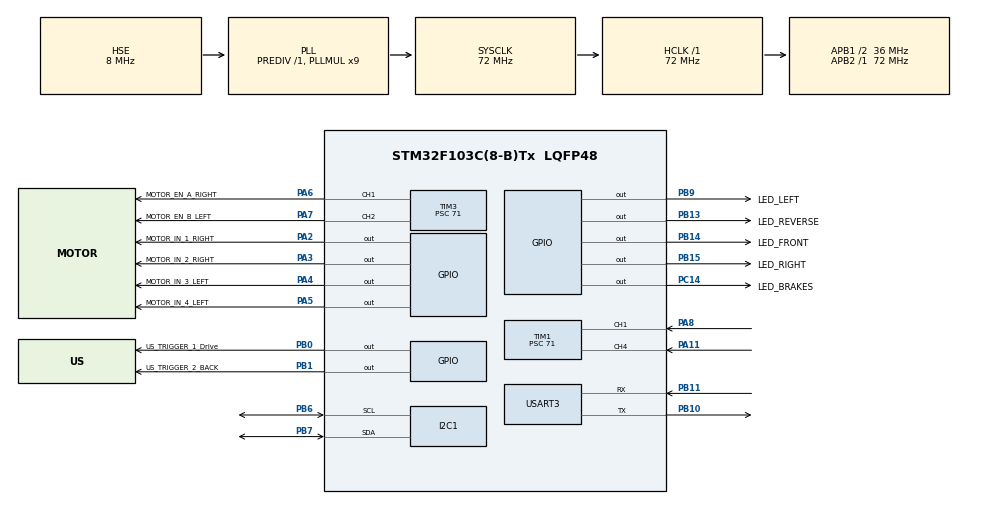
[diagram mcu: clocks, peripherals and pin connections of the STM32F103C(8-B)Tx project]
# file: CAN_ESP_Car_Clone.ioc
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Dma.Request0=USART3_RX
Dma.USART3_RX.0.Direction=DMA_PERIPH_TO_MEMORY
Dma.USART3_RX.0.Instance=DMA1_Channel3
Dma.USART3_RX.0.MemDataAlignment=DMA_MDATAALIGN_BYTE
Dma.USART3_RX.0.MemInc=DMA_MINC_ENABLE
Dma.USART3_RX.0.Mode=DMA_CIRCULAR
Dma.USART3_RX.0.PeriphDataAlignment=DMA_PDATAALIGN_BYTE
Dma.USART3_RX.0.PeriphInc=DMA_PINC_DISABLE
Dma.USART3_RX.0.Priority=DMA_PRIORITY_LOW
FREERTOS.Tasks01=defaultTask,0,250,StartDefaultTask,Default,NULL,Dynamic,NULL,NULL
FREERTOS.configMINIMAL_STACK_SIZE=250
FREERTOS.configUSE_PREEMPTION=0
I2C1.I2C_Mode=I2C_Fast
Mcu.Family=STM32F1
Mcu.Name=STM32F103C(8-B)Tx
Mcu.Package=LQFP48
NVIC.DMA1_Channel3_IRQn=true\:5\:0\:true\:false\:true\:true\:false\:true
NVIC.PriorityGroup=NVIC_PRIORITYGROUP_4
NVIC.TIM1_CC_IRQn=true\:0\:0\:false\:false\:true\:true\:true\:true
NVIC.TIM2_IRQn=true\:0\:0\:false\:false\:true\:false\:false\:true
NVIC.TimeBase=TIM2_IRQn
NVIC.TimeBaseIP=TIM2
PA11.Signal=S_TIM1_CH4
PA13.Mode=Serial_Wire
PA13.Signal=SYS_JTMS-SWDIO
PA14.Mode=Serial_Wire
PA14.Signal=SYS_JTCK-SWCLK
PA2.GPIO_Label=MOTOR_IN_1_RIGHT
PA2.Signal=GPIO_Output
PA3.GPIO_Label=MOTOR_IN_2_RIGHT
PA3.Signal=GPIO_Output
PA4.GPIO_Label=MOTOR_IN_3_LEFT
PA4.Signal=GPIO_Output
PA5.GPIO_Label=MOTOR_IN_4_LEFT
PA5.Signal=GPIO_Output
PA6.GPIO_Label=MOTOR_EN_A_RIGHT
PA6.Signal=S_TIM3_CH1
PA7.GPIO_Label=MOTOR_EN_B_LEFT
PA7.Signal=S_TIM3_CH2
PA8.Signal=S_TIM1_CH1
PB0.GPIO_Label=US_TRIGGER_1_Drive
PB0.Signal=GPIO_Output
PB1.GPIO_Label=US_TRIGGER_2_BACK
PB1.Signal=GPIO_Output
PB10.Mode=Asynchronous
PB10.Signal=USART3_TX
PB11.Mode=Asynchronous
PB11.Signal=USART3_RX
PB13.GPIO_Label=LED_REVERSE
PB13.Signal=GPIO_Output
PB14.GPIO_Label=LED_FRONT
PB14.Signal=GPIO_Output
PB15.GPIO_Label=LED_RIGHT
PB15.Signal=GPIO_Output
PB6.Mode=I2C
PB6.Signal=I2C1_SCL
PB7.Mode=I2C
PB7.Signal=I2C1_SDA
PB9.GPIO_Label=LED_LEFT
PB9.Signal=GPIO_Output
PC14-OSC32_IN.GPIO_Label=LED_BRAKES
PC14-OSC32_IN.Signal=GPIO_Output
PD0-OSC_IN.Mode=HSE-External-Oscillator
PD0-OSC_IN.Signal=RCC_OSC_IN
PD1-OSC_OUT.Mode=HSE-External-Oscillator
PD1-OSC_OUT.Signal=RCC_OSC_OUT
ProjectManager.HeapSize=0x200
ProjectManager.StackSize=0x400
ProjectManager.TargetToolchain=STM32CubeIDE
RCC.AHBFreq_Value=72000000
RCC.APB1CLKDivider=RCC_HCLK_DIV2
RCC.APB1Freq_Value=36000000
RCC.APB1TimFreq_Value=72000000
RCC.APB2Freq_Value=72000000
RCC.APB2TimFreq_Value=72000000
RCC.EnbaleCSS=true
RCC.HCLKFreq_Value=72000000
RCC.PLLMUL=RCC_PLL_MUL9
RCC.PLLSourceVirtual=RCC_PLLSOURCE_HSE
RCC.SYSCLKFreq_VALUE=72000000
RCC.SYSCLKSource=RCC_SYSCLKSOURCE_PLLCLK
RCC.USBFreq_Value=72000000
SH.S_TIM1_CH1.0=TIM1_CH1,Input_Capture1_from_TI1
SH.S_TIM1_CH4.0=TIM1_CH4,Input_Capture4_from_TI4
SH.S_TIM3_CH1.0=TIM3_CH1,PWM Generation1 CH1
SH.S_TIM3_CH2.0=TIM3_CH2,PWM Generation2 CH2
TIM1.Channel-Input_Capture1_from_TI1=TIM_CHANNEL_1
TIM1.Channel-Input_Capture4_from_TI4=TIM_CHANNEL_4
TIM1.Prescaler=71
TIM3.Channel-PWM\ Generation1\ CH1=TIM_CHANNEL_1
TIM3.Channel-PWM\ Generation2\ CH2=TIM_CHANNEL_2
TIM3.Period=100
TIM3.Prescaler=71
USART3.VirtualMode=VM_ASYNC
VP_FREERTOS_VS_CMSIS_V1.Mode=CMSIS_V1
VP_SYS_VS_tim2.Mode=TIM2
VP_TIM1_VS_ClockSourceINT.Mode=Internal
VP_TIM3_VS_ClockSourceINT.Mode=Internal
board=custom

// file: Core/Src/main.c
/* USER CODE BEGIN Header */
/**
  ******************************************************************************
  * @file           : main.c
  * @brief          : Main program body
  ******************************************************************************
  * @attention
  *
  * <h2><center>&copy; Copyright (c) 2023 STMicroelectronics.
  * All rights reserved.</center></h2>
  *
  * This software component is licensed by ST under BSD 3-Clause license,
  * the "License"; You may not use this file except in compliance with the
  * License. You may obtain a copy of the License at:
  *                        opensource.org/licenses/BSD-3-Clause
  *
  ******************************************************************************
  */

/* USER CODE END Header */
#include "main.h"
#include "cmsis_os.h"

/* USER CODE BEGIN Includes */
/* NADA BEGIN */
#include "../APP/Ultrasonic_Task.h"
/* NADA END */

/* SAKR BEGIN */
#include "../APP/app_interface.h"
#include "../APP/app_config.h"
/* SAKR END */

/* NORHAN BEGIN */
/* NORHAN END */

/* AHMED BEGIN */
#include "../HAL/OLED/fonts.h"
#include "../HAL/OLED/ssd1306.h"
/* AHMED END */

/* HOSSAM BEGIN */
/* HOSSAM END */

/* SALMA BEGIN */
#include "../APP/DCM_RTOS.h"
/* SALMA END */

/* USER CODE END Includes */

/* USER CODE BEGIN PTD */

/* NADA BEGIN */
TaskHandle_t Ultra_Handle = NULL;
TaskHandle_t Ultrasonic_Timeout_Handel= NULL;
/* NADA END */

/*NORHAN BEGIN*/
QueueHandle_t Lights_Queue;

TaskHandle_t Lights_Handle = NULL;
TaskHandle_t LED_Blink_Handle = NULL;

SemaphoreHandle_t Semaphore_Lights;

/*NOURHAN END*/
/*AHMED BEGIN*/
QueueHandle_t UartRxQueue;
TaskHandle_t OLED_Handle = NULL;
/*AHMED END*/

/* SAKR BEGIN */

/* SAKR END */

/* NORHAN BEGIN */
/* NORHAN END */

/* AHMED BEGIN */

/* AHMED END */

/* HOSSAM BEGIN */
/* HOSSAM END */

/* SALMA BEGIN */
TaskHandle_t TH_DCM = NULL;
/* SALMA END */

/* USER CODE END PTD */

/* USER CODE BEGIN PD */

/* NADA BEGIN */
extern ULTRASONIC_PASS Pass_Signal;
/* NADA END */

/* SAKR BEGIN */

//uint8_t Rx_data[8];
BaseType_t QueueResult = pdFALSE;
BaseType_t semaphoreResult = pdFALSE;

/*creating enum of the 4 transmissions that the car would have..*/

lights_en gl_lights_en = front_lights_on;
transmission_en  gl_transmission_en = Drive;
Steering_en gl_steering_en = Straight;
/* todo should be int @sakr */
uint8_t gl_u8_throttle = SPEED_ZERO;

/*creating a semaphore handle*/

SemaphoreHandle_t semaphore_transmissionHandle;
SemaphoreHandle_t semaphore_OLEDHandle;
SemaphoreHandle_t semaphore_steeringHandle;

/* SAKR END */

/* NORHAN BEGIN */
/* NORHAN END */

/* AHMED BEGIN */
/* AHMED END */

/* HOSSAM BEGIN */
/* HOSSAM END */

/* SALMA BEGIN */
/* SALMA END */

/* USER CODE END PD */

/* USER CODE BEGIN PM */

/* NADA BEGIN */
/* NADA END */

/* SAKR BEGIN */
/* SAKR END */

/* NORHAN BEGIN */
/* NORHAN END */

/* AHMED BEGIN */
/* AHMED END */

/* HOSSAM BEGIN */
/* HOSSAM END */

/* SALMA BEGIN */
/* SALMA END */

/* USER CODE END PM */

I2C_HandleTypeDef hi2c1;

TIM_HandleTypeDef htim1;
TIM_HandleTypeDef htim3;

UART_HandleTypeDef huart3;
DMA_HandleTypeDef hdma_usart3_rx;

osThreadId defaultTaskHandle;
/* USER CODE BEGIN PV */

/* NADA BEGIN */
/* NADA END */

/* SAKR BEGIN */
uint8_t uartDMARxBuffer[APP_UART_DMA_RX_BUFFER_LENGTH];

void HAL_UART_RxHalfCpltCallback(UART_HandleTypeDef *huart)
{
    BaseType_t pxHigherPriorityTaskWoken;

    /* received 1 byte */
    xQueueSendFromISR(UartRxQueue, &uartDMARxBuffer[0], &pxHigherPriorityTaskWoken);
}

void HAL_UART_RxCpltCallback(UART_HandleTypeDef *huart)
{
    BaseType_t pxHigherPriorityTaskWoken;

    /* Received 2 bytes - copy second byte */
    xQueueSendFromISR(UartRxQueue, &uartDMARxBuffer[1], &pxHigherPriorityTaskWoken);
}

void task_uart_processing(void * pvParameters)
{
    uint8_t received_byte = 0;

    /* Initiate UART <> DMA reception */
    HAL_UART_Receive_DMA(&huart3, uartDMARxBuffer, APP_UART_DMA_RX_BUFFER_LENGTH);

    for(;;)
    {
        xQueueReceive(UartRxQueue, &received_byte, portMAX_DELAY);
        xSemaphoreGive(semaphore_OLEDHandle);
        switch (received_byte)
        {
            case Parking:
            {
                gl_transmission_en = Parking;/*updating car transmission state*/
                /*throttle equals zero.*/
                gl_u8_throttle = SPEED_ZERO;
                xSemaphoreGive(semaphore_transmissionHandle);
                xSemaphoreGive(semaphore_OLEDHandle);
                vTaskSuspend(Ultra_Handle);
                break;
            }
            case Neutral:
            {
                gl_transmission_en = Neutral;/*updating car transmission state*/
                /*car is in neutral mode..the gears are all up*/
                /*throttle equals zero.*/
                gl_u8_throttle = SPEED_ZERO;
                xSemaphoreGive(semaphore_transmissionHandle);
                xSemaphoreGive(semaphore_OLEDHandle);
                vTaskSuspend(Ultra_Handle);
                break;
            }
            case Drive:
            {
            	vTaskResume(Ultra_Handle);
                if (Pass_Signal == Green_Flag)
                {
                    gl_transmission_en = Drive; /*updating car transmission state for later check*/
                    xSemaphoreGive(semaphore_transmissionHandle);
                    xSemaphoreGive(semaphore_OLEDHandle);

                }
                else
                {
                    /* Do Nothing */
                }
                break;
            }
            case Reverse:
            {

            	vTaskResume(Ultra_Handle);
                if (Pass_Signal == Green_Flag)
                {
                    gl_transmission_en = Reverse; /*updating car transmission state  for later check */
                    xSemaphoreGive(semaphore_transmissionHandle);
                    xSemaphoreGive(semaphore_OLEDHandle);

                }
                break;
            }
            default:
            {
                break;
            }
        }

        /* Throttle Readings */
        if (gl_transmission_en == Reverse || gl_transmission_en == Drive)
        {

          switch(Pass_Signal)
          {
          	  case Green_Flag:
          		  switch (received_byte){
          		  	  case throttle_0_percent:
          		  		  gl_u8_throttle = SPEED_ZERO;
          		  		  break;
          		  	  case throttle_70_percent:
          		  		  gl_u8_throttle = SPEED_MIN;
          		  		  break;
          		  	  case throttle_80_percent:
          		  		  gl_u8_throttle = SPEED_MED;
          		  		  break;
          		  	  case throttle_90_percent:
          		  		  gl_u8_throttle = SPEED_HIGH;
          		  		  break;
          		  	  case throttle_100_percent:
          		  		  gl_u8_throttle = SPEED_MAX;
          		  		  break;
          		  	  default:
          		  		  break;
            }
          		  break;

        	  case Red_Flag:
        		  gl_u8_throttle = SPEED_ZERO;
        		  break;

        	  default:
        	      break;
          }

            	xSemaphoreGive(semaphore_transmissionHandle);
        }

        switch (received_byte)
        {
            case Straight:
            {
                gl_steering_en = Straight;
                xSemaphoreGive(semaphore_steeringHandle);
                break;
            }
            case right:
            {
                gl_steering_en = right;
                xSemaphoreGive(semaphore_steeringHandle);
                break;
            }
            case sharp_right :
            {
                gl_steering_en = sharp_right;
                xSemaphoreGive(semaphore_steeringHandle);
                break;
            }
            case left :
            {
                gl_steering_en = left;
                xSemaphoreGive(semaphore_steeringHandle);
                break;
            }
            case sharp_left:
            {
                gl_steering_en = sharp_left;
                xSemaphoreGive(semaphore_steeringHandle);
                break;
            }
            default:
            {
                break;
            }
        }

        switch (received_byte)
        {
            case brake_lights_off:
            {
                gl_lights_en = brake_lights_off;
                xQueueSend(Lights_Queue, &gl_lights_en, portMAX_DELAY);

                break;
            }
            case brake_lights_on:
            {
                gl_lights_en = brake_lights_on;
                xQueueSend(Lights_Queue, &gl_lights_en, portMAX_DELAY);
                gl_u8_throttle = SPEED_ZERO;
                xSemaphoreGive(semaphore_transmissionHandle);

                break;
            }
            case right_indicators_off:
            {
                gl_lights_en = right_indicators_off;

                xQueueSend(Lights_Queue, &gl_lights_en, portMAX_DELAY);

                break;
            }
            case right_indicators_on:
            {
                gl_lights_en = right_indicators_on;

                xQueueSend(Lights_Queue, &gl_lights_en, portMAX_DELAY);

                break;
            }
            case left_indicators_off :
            {
                gl_lights_en = left_indicators_off;

                xQueueSend(Lights_Queue, &gl_lights_en, portMAX_DELAY);

                break;
            }
            case left_indicators_on:
            {
                gl_lights_en = left_indicators_on;

                xQueueSend(Lights_Queue, &gl_lights_en, portMAX_DELAY);

                break;
            }
            case hazard_indicators_off :
            {
                gl_lights_en = hazard_indicators_off;

                xQueueSend(Lights_Queue, &gl_lights_en, portMAX_DELAY);

                break;
            }
            case hazard_indicators_on:
            {
                gl_lights_en = hazard_indicators_on;

                xQueueSend(Lights_Queue, &gl_lights_en, portMAX_DELAY);

                break;
            }
            case front_lights_off :
            {
                gl_lights_en = front_lights_off;

                xQueueSend(Lights_Queue, &gl_lights_en, portMAX_DELAY);

                break;
            }
            case front_lights_on :
            {
                gl_lights_en = front_lights_on;

                xQueueSend(Lights_Queue, &gl_lights_en, portMAX_DELAY);

                break;
            }
            case reverse_lights_off:
            {
                gl_lights_en = reverse_lights_off;

                xQueueSend(Lights_Queue, &gl_lights_en, portMAX_DELAY);

                break;
            }
            case reverse_lights_on:
            {
                gl_lights_en = reverse_lights_on;

                xQueueSend(Lights_Queue, &gl_lights_en, portMAX_DELAY);

                break;
            }
            default:
            {
                break;
            }
        }
    }
}

/* SAKR END */

/* NORHAN BEGIN */

typedef enum {
    ON,
    OFF
} LED_STATUS;

volatile LED_STATUS Left_led_flag = OFF;
volatile LED_STATUS Right_led_flag = OFF;
/* NORHAN END */

/* AHMED BEGIN */

/* AHMED END */

/* HOSSAM BEGIN */
/* HOSSAM END */

/* SALMA BEGIN */
/* SALMA END */

/* USER CODE END PV */

void SystemClock_Config(void);
static void MX_GPIO_Init(void);
static void MX_DMA_Init(void);
static void MX_TIM3_Init(void);
static void MX_I2C1_Init(void);
static void MX_TIM1_Init(void);
static void MX_USART3_UART_Init(void);
void StartDefaultTask(void const * argument);

/* USER CODE BEGIN PFP */

/* NADA BEGIN */
/* NADA END */

/* SAKR BEGIN */
void task_uart_processing(void * pvParameters);
/* SAKR END */

/* NORHAN BEGIN */
void LightingSystem(void * pvParameter);
void Blinking(void * pvParameter);

/* NORHAN END */

/* AHMED BEGIN */

void OLED_Function(void * pvParameters);
/* AHMED END */

/* HOSSAM BEGIN */
/* HOSSAM END */

/* SALMA BEGIN */
/* SALMA END */

/* USER CODE END PFP */

/* USER CODE BEGIN 0 */

/* NADA BEGIN */
/* NADA END */

/* SAKR BEGIN */
/* SAKR END */

/* NORHAN BEGIN */
void LightingSystem(void * pvParameter)
{
    lights_en LedToPowerOn;

    for (;;)
    {
        	xQueueReceive(Lights_Queue, &LedToPowerOn, portMAX_DELAY);
            if (LedToPowerOn == brake_lights_off)
            {
                HAL_GPIO_WritePin(LED_BRAKES_GPIO_Port, LED_BRAKES_Pin, GPIO_PIN_RESET);
            }
            else if (LedToPowerOn == brake_lights_on)
            {
                HAL_GPIO_WritePin(LED_BRAKES_GPIO_Port, LED_BRAKES_Pin, GPIO_PIN_SET);
            }
            else if (LedToPowerOn == front_lights_off)
            {
                HAL_GPIO_WritePin(LED_FRONT_GPIO_Port, LED_FRONT_Pin, GPIO_PIN_RESET);
            }
            else if (LedToPowerOn == front_lights_on)
            {
                HAL_GPIO_WritePin(LED_FRONT_GPIO_Port, LED_FRONT_Pin, GPIO_PIN_SET);
            }
            else if (LedToPowerOn == reverse_lights_off)
            {
                HAL_GPIO_WritePin(LED_REVERSE_GPIO_Port, LED_REVERSE_Pin, GPIO_PIN_RESET);
            }
            else if (LedToPowerOn == reverse_lights_on)
            {
                HAL_GPIO_WritePin(LED_REVERSE_GPIO_Port, LED_REVERSE_Pin, GPIO_PIN_SET);
            }
            else if (LedToPowerOn == left_indicators_off)
            {
            	HAL_GPIO_WritePin(LED_LEFT_GPIO_Port, LED_LEFT_Pin, GPIO_PIN_RESET);
            }
            else if (LedToPowerOn == left_indicators_on)
            {
            	HAL_GPIO_WritePin(LED_LEFT_GPIO_Port, LED_LEFT_Pin, GPIO_PIN_SET);
            }
            else if (LedToPowerOn == right_indicators_off)
            {
            	HAL_GPIO_WritePin(LED_RIGHT_GPIO_Port, LED_RIGHT_Pin, GPIO_PIN_RESET);
            }
            else if (LedToPowerOn == right_indicators_on)
            {
            	HAL_GPIO_WritePin(LED_RIGHT_GPIO_Port, LED_RIGHT_Pin, GPIO_PIN_SET);
            }

    }

}

void Blinking(void * pvParameter)
{
	uint8_t toggle=GPIO_PIN_RESET;
    vTaskSuspend(NULL);

    for (;;)
    {

    	if(toggle == GPIO_PIN_RESET)
    	{
    		toggle = GPIO_PIN_SET;
    	}
    	else
    	{
    		toggle = GPIO_PIN_RESET;
    	}

        if (Right_led_flag == ON)
        {

        	HAL_GPIO_WritePin(LED_RIGHT_GPIO_Port, LED_RIGHT_Pin, toggle);
        }

        else if (Right_led_flag == OFF)
        {
            HAL_GPIO_WritePin(LED_RIGHT_GPIO_Port, LED_RIGHT_Pin, GPIO_PIN_RESET);
        }

        if (Left_led_flag == ON)
        {
        	HAL_GPIO_WritePin(LED_LEFT_GPIO_Port, LED_LEFT_Pin, toggle);
        }
        else if (Left_led_flag == OFF)
        {
            HAL_GPIO_WritePin(LED_LEFT_GPIO_Port, LED_LEFT_Pin, GPIO_PIN_RESET);
        }
        if (Left_led_flag == OFF && Right_led_flag == OFF)
        {
            vTaskSuspend(NULL);
        }

        osDelay(500);
    }

}

/* NORHAN END */

/* AHMED BEGIN */
/* AHMED END */

/* HOSSAM BEGIN */
/* HOSSAM END */

/* SALMA BEGIN */
/* SALMA END */

/* USER CODE END 0 */

int main(void)
{
  /* USER CODE BEGIN 1 */

    /* NADA BEGIN */
    /* NADA END */

    /* SAKR BEGIN */
    /* SAKR END */

    /* NORHAN BEGIN */

    /* NORHAN END */

    /* AHMED BEGIN */
    /* AHMED END */

    /* HOSSAM BEGIN */
    /* HOSSAM END */

    /* SALMA BEGIN */
    /* SALMA END */

  /* USER CODE END 1 */

  /* MCU Configuration--------------------------------------------------------*/

  /* Reset of all peripherals, Initializes the Flash interface and the Systick. */
  HAL_Init();

  /* USER CODE BEGIN Init */

    /* NADA BEGIN */
    /* NADA END */

    /* SAKR BEGIN */

    semaphore_transmissionHandle = xSemaphoreCreateBinary();
    semaphore_OLEDHandle = xSemaphoreCreateBinary();
    semaphore_steeringHandle = xSemaphoreCreateBinary();

    /* SAKR END */

    /* NORHAN BEGIN */
    /* NORHAN END */

    /* AHMED BEGIN */
    /* AHMED END */

    /* HOSSAM BEGIN */
    /* HOSSAM END */

    /* SALMA BEGIN */
    /* SALMA END */

  /* USER CODE END Init */

  /* Configure the system clock */
  SystemClock_Config();

  /* USER CODE BEGIN SysInit */

    /* NADA BEGIN */
    /* NADA END */

    /* SAKR BEGIN */
    /* SAKR END */

    /* NORHAN BEGIN */
    /* NORHAN END */

    /* AHMED BEGIN */
    /* AHMED END */

    /* HOSSAM BEGIN */
    /* HOSSAM END */

    /* SALMA BEGIN */
    /* SALMA END */

  /* USER CODE END SysInit */

  /* Initialize all configured peripherals */
  MX_GPIO_Init();
  MX_DMA_Init();
  MX_TIM3_Init();
  MX_I2C1_Init();
  MX_TIM1_Init();
  MX_USART3_UART_Init();
  /* USER CODE BEGIN 2 */

    /* NADA BEGIN */
  xTaskCreate(
		       Ultrasonic_Task,       /* Function that implements the task. */
                "Ultrasonic",          /* Text name for the task. */
                 128,      /* Stack size in words, not bytes. */
                 ( void * ) NULL,    /* Parameter passed into the task. */
                 2,/* Priority at which the task is created. */
                 &Ultra_Handle);      /* Used to pass out the created task's handle. */

  xTaskCreate(
		Ultrasonic_Timeout_Task,       /* Function that implements the task. */
                 "Ultrasonic_Timeout",          /* Text name for the task. */
                  128,      /* Stack size in words, not bytes. */
                  ( void * ) NULL,    /* Parameter passed into the task. */
                  1,/* Priority at which the task is created. */
                  &Ultrasonic_Timeout_Handel);

    /* NADA END */

    /* SAKR BEGIN */

    xTaskCreate(
            task_uart_processing,       /* Function that implements the task. */
            "UART",          /* Text name for the task. */
            128,      /* Stack size in words, not bytes. */
            ( void * ) NULL,    /* Parameter passed into the task. */
            4,/* Priority at which the task is created. */
            NULL);      /* Used to pass out the created task's handle. */

    UartRxQueue = xQueueCreate(APP_UART_RX_QUEUE_LENGTH, APP_UART_RX_QUEUE_ITEM_SIZE);

    /* SAKR END */

    /* NORHAN BEGIN */
    xTaskCreate(
            LightingSystem,       /* Function that implements the task. */
            "Lights",          /* Text name for the task. */
            128,      /* Stack size in words, not bytes. */
            (void *) NULL,    /* Parameter passed into the task. */
            1,  /* Priority at which the task is created. */
            &Lights_Handle);      /* Used to pass out the created task's handle. */

    xTaskCreate(
            Blinking,       /* Function that implements the task. */
            "Blinking",          /* Text name for the task. */
            128,      /* Stack size in words, not bytes. */
            (void *) NULL,    /* Parameter passed into the task. */
            1,/* Priority at which the task is created. */
            &LED_Blink_Handle);      /* Used to pass out the created task's handle. */

    Lights_Queue = xQueueCreate(15, sizeof(uint8_t));
    /* NORHAN END */

    /* AHMED BEGIN */
    /* AHMED END */

    /* HOSSAM BEGIN */
    /* HOSSAM END */

    /* SALMA BEGIN */
    xTaskCreate(          Task_DCM,     	/* Function that implements the task. */
                          "Task",    		/* Text name for the task. */
                          128,              /* Stack size in words, not bytes. */
                          ( void * ) 1,     /* Parameter passed into the task. */
                          3,                /* Priority at which the task is created. */
                          &TH_DCM);      	/* Used to pass out the created task's handle. */
    /* SALMA END */

  /* USER CODE END 2 */

  /* USER CODE BEGIN RTOS_MUTEX */
    /* add mutexes, ... */

    /* NADA BEGIN */
    /* NADA END */

    /* SAKR BEGIN */
    /* SAKR END */

    /* NORHAN BEGIN */
    /* NORHAN END */

    /* AHMED BEGIN */
    SSD1306_Init(); // initialize the display
    xTaskCreate(OLED_Function, "oled", 128, (void *) NULL, 1, &OLED_Handle);
    /* AHMED END */

    /* HOSSAM BEGIN */
    /* HOSSAM END */

    /* SALMA BEGIN */
    /* SALMA END */

  /* USER CODE END RTOS_MUTEX */

  /* USER CODE BEGIN RTOS_SEMAPHORES */
    /* add semaphores, ... */

    /* NADA BEGIN */
    /* NADA END */

    /* SAKR BEGIN */
    /* SAKR END */

    /* NORHAN BEGIN */
    Semaphore_Lights = xSemaphoreCreateBinary();
    /* NORHAN END */

    /* AHMED BEGIN */
    /* AHMED END */

    /* HOSSAM BEGIN */
    /* HOSSAM END */

    /* SALMA BEGIN */
    /* SALMA END */

  /* USER CODE END RTOS_SEMAPHORES */

  /* USER CODE BEGIN RTOS_TIMERS */
    /* start timers, add new ones, ... */

    /* NADA BEGIN */
  HAL_TIM_IC_Start_IT(&htim1,TIM_CHANNEL_1);
  HAL_TIM_IC_Start_IT(&htim1,TIM_CHANNEL_4);
    /* NADA END */

    /* SAKR BEGIN */
    /* SAKR END */

    /* NORHAN BEGIN */
    /* NORHAN END */

    /* AHMED BEGIN */
    /* AHMED END */

    /* HOSSAM BEGIN */
    /* HOSSAM END */

    /* SALMA BEGIN */
    /* SALMA END */

  /* USER CODE END RTOS_TIMERS */

  /* USER CODE BEGIN RTOS_QUEUES */
    /* add queues, ... */

    /* NADA BEGIN */
    /* NADA END */

    /* SAKR BEGIN */
    /* SAKR END */

    /* NORHAN BEGIN */

    /* NORHAN END */

    /* AHMED BEGIN */
    /* AHMED END */

    /* HOSSAM BEGIN */
    /* HOSSAM END */

    /* SALMA BEGIN */
    /* SALMA END */

  /* USER CODE END RTOS_QUEUES */

  /* Create the thread(s) */
  /* definition and creation of defaultTask */
  /* USER CODE BEGIN RTOS_THREADS */
    /* add threads, ... */

    /* NADA BEGIN */
    /* NADA END */

    /* SAKR BEGIN */
    /* SAKR END */

    /* NORHAN BEGIN */
    /* NORHAN END */

    /* AHMED BEGIN */
    /* AHMED END */

    /* HOSSAM BEGIN */
    /* HOSSAM END */

    /* SALMA BEGIN */

    /* SALMA END */

  /* USER CODE END RTOS_THREADS */

  /* Start scheduler */
  osKernelStart();

  /* We should never get here as control is now taken by the scheduler */
  /* Infinite loop */
  /* USER CODE BEGIN WHILE */
    while (1) {
        /* NADA BEGIN */
        /* NADA END */

        /* SAKR BEGIN */
        /* SAKR END */

        /* NORHAN BEGIN */
        /* NORHAN END */

        /* AHMED BEGIN */
        /* AHMED END */

        /* HOSSAM BEGIN */
        /* HOSSAM END */

        /* SALMA BEGIN */
        /* SALMA END */

    /* USER CODE END WHILE */

    }
}

void SystemClock_Config(void)
{
  RCC_OscInitTypeDef RCC_OscInitStruct = {0};
  RCC_ClkInitTypeDef RCC_ClkInitStruct = {0};

  /** Initializes the RCC Oscillators according to the specified parameters
  * in the RCC_OscInitTypeDef structure.
  */
  RCC_OscInitStruct.OscillatorType = RCC_OSCILLATORTYPE_HSE;
  RCC_OscInitStruct.HSEState = RCC_HSE_ON;
  RCC_OscInitStruct.HSEPredivValue = RCC_HSE_PREDIV_DIV1;
  RCC_OscInitStruct.HSIState = RCC_HSI_ON;
  RCC_OscInitStruct.PLL.PLLState = RCC_PLL_ON;
  RCC_OscInitStruct.PLL.PLLSource = RCC_PLLSOURCE_HSE;
  RCC_OscInitStruct.PLL.PLLMUL = RCC_PLL_MUL9;
  if (HAL_RCC_OscConfig(&RCC_OscInitStruct) != HAL_OK)
  {
    Error_Handler();
  }
  /** Initializes the CPU, AHB and APB buses clocks
  */
  RCC_ClkInitStruct.ClockType = RCC_CLOCKTYPE_HCLK|RCC_CLOCKTYPE_SYSCLK
                              |RCC_CLOCKTYPE_PCLK1|RCC_CLOCKTYPE_PCLK2;
  RCC_ClkInitStruct.SYSCLKSource = RCC_SYSCLKSOURCE_PLLCLK;
  RCC_ClkInitStruct.AHBCLKDivider = RCC_SYSCLK_DIV1;
  RCC_ClkInitStruct.APB1CLKDivider = RCC_HCLK_DIV2;
  RCC_ClkInitStruct.APB2CLKDivider = RCC_HCLK_DIV1;

  if (HAL_RCC_ClockConfig(&RCC_ClkInitStruct, FLASH_LATENCY_2) != HAL_OK)
  {
    Error_Handler();
  }
  /** Enables the Clock Security System
  */
  HAL_RCC_EnableCSS();
}

static void MX_I2C1_Init(void)
{

  hi2c1.Instance = I2C1;
  hi2c1.Init.ClockSpeed = 400000;
  hi2c1.Init.DutyCycle = I2C_DUTYCYCLE_2;
  hi2c1.Init.OwnAddress1 = 0;
  hi2c1.Init.AddressingMode = I2C_ADDRESSINGMODE_7BIT;
  hi2c1.Init.DualAddressMode = I2C_DUALADDRESS_DISABLE;
  hi2c1.Init.OwnAddress2 = 0;
  hi2c1.Init.GeneralCallMode = I2C_GENERALCALL_DISABLE;
  hi2c1.Init.NoStretchMode = I2C_NOSTRETCH_DISABLE;
  if (HAL_I2C_Init(&hi2c1) != HAL_OK)
  {
    Error_Handler();
  }

}

static void MX_TIM1_Init(void)
{

  TIM_ClockConfigTypeDef sClockSourceConfig = {0};
  TIM_MasterConfigTypeDef sMasterConfig = {0};
  TIM_IC_InitTypeDef sConfigIC = {0};

  htim1.Instance = TIM1;
  htim1.Init.Prescaler = 71;
  htim1.Init.CounterMode = TIM_COUNTERMODE_UP;
  htim1.Init.Period = 65535;
  htim1.Init.ClockDivision = TIM_CLOCKDIVISION_DIV1;
  htim1.Init.RepetitionCounter = 0;
  htim1.Init.AutoReloadPreload = TIM_AUTORELOAD_PRELOAD_DISABLE;
  if (HAL_TIM_Base_Init(&htim1) != HAL_OK)
  {
    Error_Handler();
  }
  sClockSourceConfig.ClockSource = TIM_CLOCKSOURCE_INTERNAL;
  if (HAL_TIM_ConfigClockSource(&htim1, &sClockSourceConfig) != HAL_OK)
  {
    Error_Handler();
  }
  if (HAL_TIM_IC_Init(&htim1) != HAL_OK)
  {
    Error_Handler();
  }
  sMasterConfig.MasterOutputTrigger = TIM_TRGO_RESET;
  sMasterConfig.MasterSlaveMode = TIM_MASTERSLAVEMODE_DISABLE;
  if (HAL_TIMEx_MasterConfigSynchronization(&htim1, &sMasterConfig) != HAL_OK)
  {
    Error_Handler();
  }
  sConfigIC.ICPolarity = TIM_INPUTCHANNELPOLARITY_RISING;
  sConfigIC.ICSelection = TIM_ICSELECTION_DIRECTTI;
  sConfigIC.ICPrescaler = TIM_ICPSC_DIV1;
  sConfigIC.ICFilter = 0;
  if (HAL_TIM_IC_ConfigChannel(&htim1, &sConfigIC, TIM_CHANNEL_1) != HAL_OK)
  {
    Error_Handler();
  }
  if (HAL_TIM_IC_ConfigChannel(&htim1, &sConfigIC, TIM_CHANNEL_4) != HAL_OK)
  {
    Error_Handler();
  }

}

static void MX_TIM3_Init(void)
{

  TIM_ClockConfigTypeDef sClockSourceConfig = {0};
  TIM_MasterConfigTypeDef sMasterConfig = {0};
  TIM_OC_InitTypeDef sConfigOC = {0};

  htim3.Instance = TIM3;
  htim3.Init.Prescaler = 71;
  htim3.Init.CounterMode = TIM_COUNTERMODE_UP;
  htim3.Init.Period = 100;
  htim3.Init.ClockDivision = TIM_CLOCKDIVISION_DIV1;
  htim3.Init.AutoReloadPreload = TIM_AUTORELOAD_PRELOAD_DISABLE;
  if (HAL_TIM_Base_Init(&htim3) != HAL_OK)
  {
    Error_Handler();
  }
  sClockSourceConfig.ClockSource = TIM_CLOCKSOURCE_INTERNAL;
  if (HAL_TIM_ConfigClockSource(&htim3, &sClockSourceConfig) != HAL_OK)
  {
    Error_Handler();
  }
  if (HAL_TIM_PWM_Init(&htim3) != HAL_OK)
  {
    Error_Handler();
  }
  sMasterConfig.MasterOutputTrigger = TIM_TRGO_RESET;
  sMasterConfig.MasterSlaveMode = TIM_MASTERSLAVEMODE_DISABLE;
  if (HAL_TIMEx_MasterConfigSynchronization(&htim3, &sMasterConfig) != HAL_OK)
  {
    Error_Handler();
  }
  sConfigOC.OCMode = TIM_OCMODE_PWM1;
  sConfigOC.Pulse = 0;
  sConfigOC.OCPolarity = TIM_OCPOLARITY_HIGH;
  sConfigOC.OCFastMode = TIM_OCFAST_DISABLE;
  if (HAL_TIM_PWM_ConfigChannel(&htim3, &sConfigOC, TIM_CHANNEL_1) != HAL_OK)
  {
    Error_Handler();
  }
  if (HAL_TIM_PWM_ConfigChannel(&htim3, &sConfigOC, TIM_CHANNEL_2) != HAL_OK)
  {
    Error_Handler();
  }
  HAL_TIM_MspPostInit(&htim3);

}

static void MX_USART3_UART_Init(void)
{

  huart3.Instance = USART3;
  huart3.Init.BaudRate = 115200;
  huart3.Init.WordLength = UART_WORDLENGTH_8B;
  huart3.Init.StopBits = UART_STOPBITS_1;
  huart3.Init.Parity = UART_PARITY_NONE;
  huart3.Init.Mode = UART_MODE_TX_RX;
  huart3.Init.HwFlowCtl = UART_HWCONTROL_NONE;
  huart3.Init.OverSampling = UART_OVERSAMPLING_16;
  if (HAL_UART_Init(&huart3) != HAL_OK)
  {
    Error_Handler();
  }

}

static void MX_DMA_Init(void)
{

  /* DMA controller clock enable */
  __HAL_RCC_DMA1_CLK_ENABLE();

  /* DMA interrupt init */
  /* DMA1_Channel3_IRQn interrupt configuration */
  HAL_NVIC_SetPriority(DMA1_Channel3_IRQn, 5, 0);
  HAL_NVIC_EnableIRQ(DMA1_Channel3_IRQn);

}

static void MX_GPIO_Init(void)
{
  GPIO_InitTypeDef GPIO_InitStruct = {0};

  /* GPIO Ports Clock Enable */
  __HAL_RCC_GPIOC_CLK_ENABLE();
  __HAL_RCC_GPIOD_CLK_ENABLE();
  __HAL_RCC_GPIOA_CLK_ENABLE();
  __HAL_RCC_GPIOB_CLK_ENABLE();

  /*Configure GPIO pin Output Level */
  HAL_GPIO_WritePin(LED_BRAKES_GPIO_Port, LED_BRAKES_Pin, GPIO_PIN_RESET);

  /*Configure GPIO pin Output Level */
  HAL_GPIO_WritePin(GPIOA, MOTOR_IN_1_RIGHT_Pin|MOTOR_IN_2_RIGHT_Pin|MOTOR_IN_3_LEFT_Pin|MOTOR_IN_4_LEFT_Pin, GPIO_PIN_RESET);

  /*Configure GPIO pin Output Level */
  HAL_GPIO_WritePin(GPIOB, US_TRIGGER_1_DRIVE_Pin|US_TRIGGER_2_BACK_Pin|LED_REVERSE_Pin|LED_FRONT_Pin
                          |LED_RIGHT_Pin|LED_LEFT_Pin, GPIO_PIN_RESET);

  /*Configure GPIO pin : LED_BRAKES_Pin */
  GPIO_InitStruct.Pin = LED_BRAKES_Pin;
  GPIO_InitStruct.Mode = GPIO_MODE_OUTPUT_PP;
  GPIO_InitStruct.Pull = GPIO_NOPULL;
  GPIO_InitStruct.Speed = GPIO_SPEED_FREQ_LOW;
  HAL_GPIO_Init(LED_BRAKES_GPIO_Port, &GPIO_InitStruct);

  /*Configure GPIO pins : MOTOR_IN_1_RIGHT_Pin MOTOR_IN_2_RIGHT_Pin MOTOR_IN_3_LEFT_Pin MOTOR_IN_4_LEFT_Pin */
  GPIO_InitStruct.Pin = MOTOR_IN_1_RIGHT_Pin|MOTOR_IN_2_RIGHT_Pin|MOTOR_IN_3_LEFT_Pin|MOTOR_IN_4_LEFT_Pin;
  GPIO_InitStruct.Mode = GPIO_MODE_OUTPUT_PP;
  GPIO_InitStruct.Pull = GPIO_NOPULL;
  GPIO_InitStruct.Speed = GPIO_SPEED_FREQ_LOW;
  HAL_GPIO_Init(GPIOA, &GPIO_InitStruct);

  /*Configure GPIO pins : US_TRIGGER_1_DRIVE_Pin US_TRIGGER_2_BACK_Pin LED_REVERSE_Pin LED_FRONT_Pin
                           LED_RIGHT_Pin LED_LEFT_Pin */
  GPIO_InitStruct.Pin = US_TRIGGER_1_DRIVE_Pin|US_TRIGGER_2_BACK_Pin|LED_REVERSE_Pin|LED_FRONT_Pin
                          |LED_RIGHT_Pin|LED_LEFT_Pin;
  GPIO_InitStruct.Mode = GPIO_MODE_OUTPUT_PP;
  GPIO_InitStruct.Pull = GPIO_NOPULL;
  GPIO_InitStruct.Speed = GPIO_SPEED_FREQ_LOW;
  HAL_GPIO_Init(GPIOB, &GPIO_InitStruct);

}

/* USER CODE BEGIN 4 */

/**
  * @brief  Function implementing the oled thread.
  * @param  argument: Not used
  * @retval None
  */
void OLED_Function(void * pvParameters) {
    /* USER CODE BEGIN 5 */
	char string_buffer[5]={0};
    /* Infinite loop */
    for (;;) {
        xSemaphoreTake(semaphore_OLEDHandle, portMAX_DELAY);
        SSD1306_Clear();
        SSD1306_GotoXY(10, 10); // goto 10, 10
/*        SSD1306_Puts("Current mode: ", &Font_7x10, 1);*/

        if (gl_transmission_en == Neutral) {
            //SSD1306_GotoXY(40, 25);
            SSD1306_Puts("N", &Font_11x18, 1);
        } else if (gl_transmission_en == Parking) {
            //SSD1306_GotoXY(55, 25);
            SSD1306_Puts("P", &Font_11x18, 1);
        } else if (gl_transmission_en == Drive) {
            //SSD1306_GotoXY(10, 25);
            SSD1306_Puts("D", &Font_11x18, 1);
        } else if (gl_transmission_en == Reverse) {
           // SSD1306_GotoXY(25, 25);
            SSD1306_Puts("R", &Font_11x18, 1);
        } else {
            /*		DO NOTHING		*/
        }
        SSD1306_GotoXY(25, 10);
        //SSD1306_Puts("Current Speed:", &Font_7x10, 1);
       // SSD1306_GotoXY(45, 50);
        itoa (gl_u8_throttle,string_buffer,10);
        SSD1306_Puts(string_buffer, &Font_11x18, 1);

        SSD1306_GotoXY(50, 10);
        switch(gl_steering_en)
        {
        case Straight:
        	SSD1306_Puts("ST", &Font_11x18, 1);
        	break;
        case right:
                	SSD1306_Puts("R", &Font_11x18, 1);
                	break;
        case sharp_right:
                	SSD1306_Puts("SR", &Font_11x18, 1);
                	break;
        case left:
                	SSD1306_Puts("L", &Font_11x18, 1);
                	break;
        case sharp_left:
                	SSD1306_Puts("SL", &Font_11x18, 1);
                	break;

        default:
        	break;
        }
        SSD1306_GotoXY(10, 25);

        itoa (Ultrasonc_getdistace(),string_buffer,10);
        SSD1306_Puts(string_buffer, &Font_11x18, 1);

        SSD1306_UpdateScreen(); // update screen
        vTaskDelay(1000);
    }
    /* USER CODE END 5 */
}

/* USER CODE END 4 */

void HAL_TIM_PeriodElapsedCallback(TIM_HandleTypeDef *htim)
{
  if (htim->Instance == TIM2) {
    HAL_IncTick();
  }
}

void Error_Handler(void)
{
}

/************************ (C) COPYRIGHT STMicroelectronics *****END OF FILE****/
